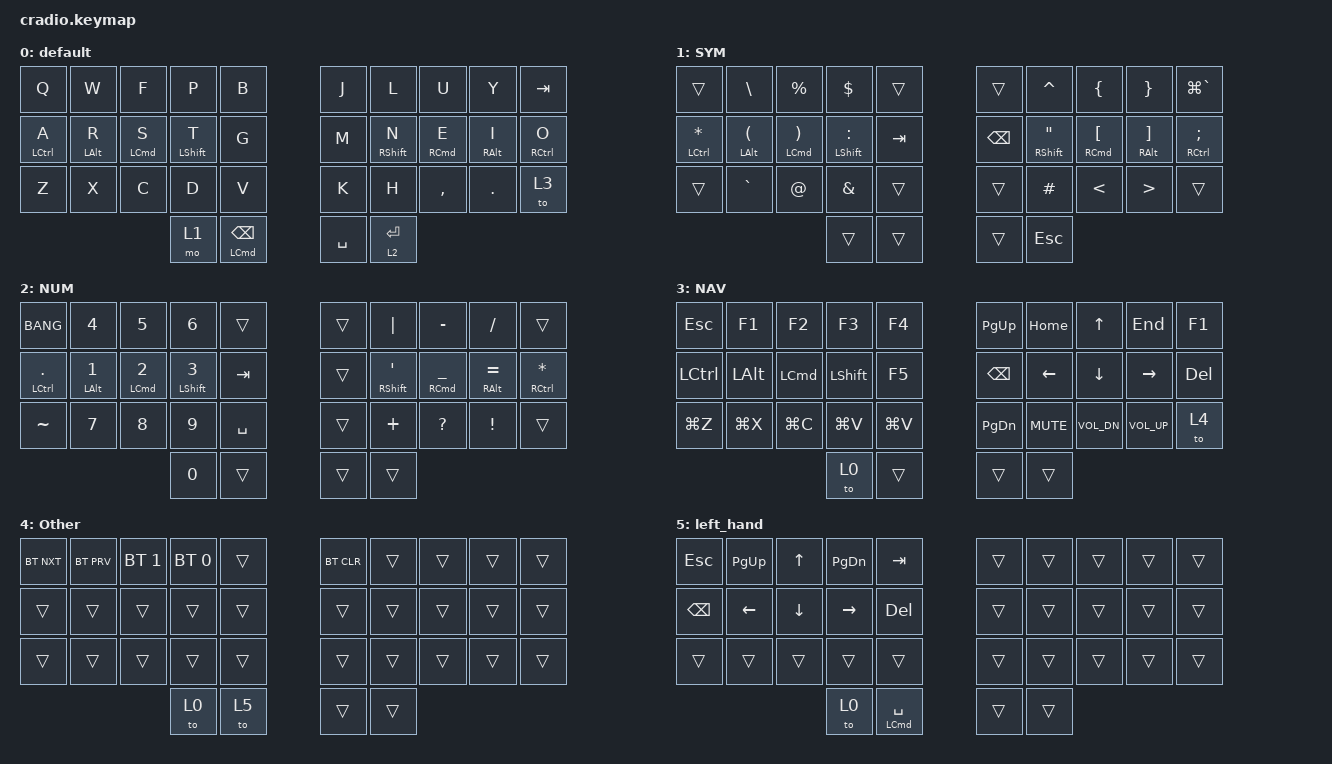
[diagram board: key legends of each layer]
/*
 * Copyright (c) 2020 The ZMK Contributors
 *
 * SPDX-License-Identifier: MIT
 */

#include <behaviors.dtsi>
#include <dt-bindings/zmk/bt.h>
#include <dt-bindings/zmk/keys.h>

&mt {
    // flavor = "tap-preferred";

    flavor = "balanced";
    tapping_term_ms = <200>;
    quick-tap-ms = <200>;
};

&sk {
    quick-release;
};

/ {
    combos {
        compatible = "zmk,combos";

        caps_word {
            bindings = <&caps_word>;
            key-positions = <14 15>;
        };

        backspace {
            bindings = <&kp BACKSPACE>;
            key-positions = <7 8>;
        };

        combo_shift {
            bindings = <&sk LSHIFT>;
            key-positions = <1 2>;
        };

        compo_alt {
            bindings = <&sk LEFT_ALT>;
            key-positions = <21 22>;
        };

        combo_cmd {
            bindings = <&sk RCMD>;
            key-positions = <27 28>;
        };
    };

    macros {
    };

    keymap {
        compatible = "zmk,keymap";

        default {
            bindings = <
             &kp Q           &kp W               &kp F             &kp P                       &kp B      &kp J              &kp L                &kp U            &kp Y              &kp TAB
&mt LEFT_CONTROL A  &mt LEFT_ALT R  &mt LEFT_COMMAND S  &mt LEFT_SHIFT T                       &kp G      &kp M  &mt RIGHT_SHIFT N  &mt RIGHT_COMMAND E  &mt RIGHT_ALT I  &mt RIGHT_CONTROL O
             &kp Z           &kp X               &kp C             &kp D                       &kp V      &kp K              &kp H            &kp COMMA          &kp DOT                &to 3
                                                                   &mo 1  &mt LEFT_COMMAND BACKSPACE  &kp SPACE       &lt 2 RETURN
            >;
        };

        SYM {
            bindings = <
               &trans                  &kp BACKSLASH                         &kp PERCENT            &kp DOLLAR   &trans         &trans                      &kp CARET                  &kp LEFT_BRACE              &kp RIGHT_BRACE                &kp LG(GRAVE)
&mt LEFT_CONTROL STAR  &mt LEFT_ALT LEFT_PARENTHESIS  &mt LEFT_COMMAND RIGHT_PARENTHESIS  &mt LEFT_SHIFT COLON  &kp TAB  &kp BACKSPACE  &mt RIGHT_SHIFT DOUBLE_QUOTES  &mt RIGHT_COMMAND LEFT_BRACKET  &mt RIGHT_ALT RIGHT_BRACKET  &mt RIGHT_CONTROL SEMICOLON
               &trans                      &kp GRAVE                         &kp AT_SIGN         &kp AMPERSAND   &trans         &trans                       &kp HASH                   &kp LESS_THAN             &kp GREATER_THAN                       &trans
                                                                                                        &trans   &trans         &trans                        &kp ESC
            >;
        };

        NUM {
            bindings = <
               &kp BANG     &kp NUMBER_4         &kp NUMBER_5   &kp NUMBER_6     &trans  &trans              &kp PIPE                     &kp MINUS            &kp SLASH                  &trans
&mt LEFT_CONTROL PERIOD  &mt LEFT_ALT N1  &mt LEFT_COMMAND N2  &mt LSHIFT N3    &kp TAB  &trans  &mt RIGHT_SHIFT APOS  &mt RIGHT_COMMAND UNDERSCORE  &mt RIGHT_ALT EQUAL  &mt RIGHT_CONTROL STAR
              &kp TILDE     &kp NUMBER_7         &kp NUMBER_8   &kp NUMBER_9  &kp SPACE  &trans              &kp PLUS                  &kp QUESTION             &kp EXCL                  &trans
                                                                &kp NUMBER_0     &trans  &trans                &trans
            >;
        };

        NAV {
            bindings = <
         &kp ESC        &kp F1            &kp F2          &kp F3     &kp F4    &kp PAGE_UP    &kp HOME        &kp UP       &kp END      &kp F1
&kp LEFT_CONTROL  &kp LEFT_ALT  &kp LEFT_COMMAND  &kp LEFT_SHIFT     &kp F5  &kp BACKSPACE    &kp LEFT      &kp DOWN     &kp RIGHT  &kp DELETE
       &kp LG(Z)     &kp LG(X)         &kp LG(C)       &kp LG(V)  &kp LG(V)  &kp PAGE_DOWN  &kp C_MUTE  &kp C_VOL_DN  &kp C_VOL_UP       &to 4
                                                           &to 0     &trans         &trans      &trans
            >;
        };

        Other {
            bindings = <
&bt BT_NXT  &bt BT_PRV  &bt BT_SEL 1  &bt BT_SEL 0  &trans  &bt BT_CLR  &trans  &trans  &trans  &trans
    &trans      &trans        &trans        &trans  &trans      &trans  &trans  &trans  &trans  &trans
    &trans      &trans        &trans        &trans  &trans      &trans  &trans  &trans  &trans  &trans
                                             &to 0   &to 5      &trans  &trans
            >;
        };

        left_hand {
            bindings = <
      &kp ESC  &kp PAGE_UP    &kp UP  &kp PAGE_DOWN                 &kp TAB  &trans  &trans  &trans  &trans  &trans
&kp BACKSPACE     &kp LEFT  &kp DOWN      &kp RIGHT                 &kp DEL  &trans  &trans  &trans  &trans  &trans
       &trans       &trans    &trans         &trans                  &trans  &trans  &trans  &trans  &trans  &trans
                                              &to 0  &mt LEFT_COMMAND SPACE  &trans  &trans
            >;
        };
    };
};
